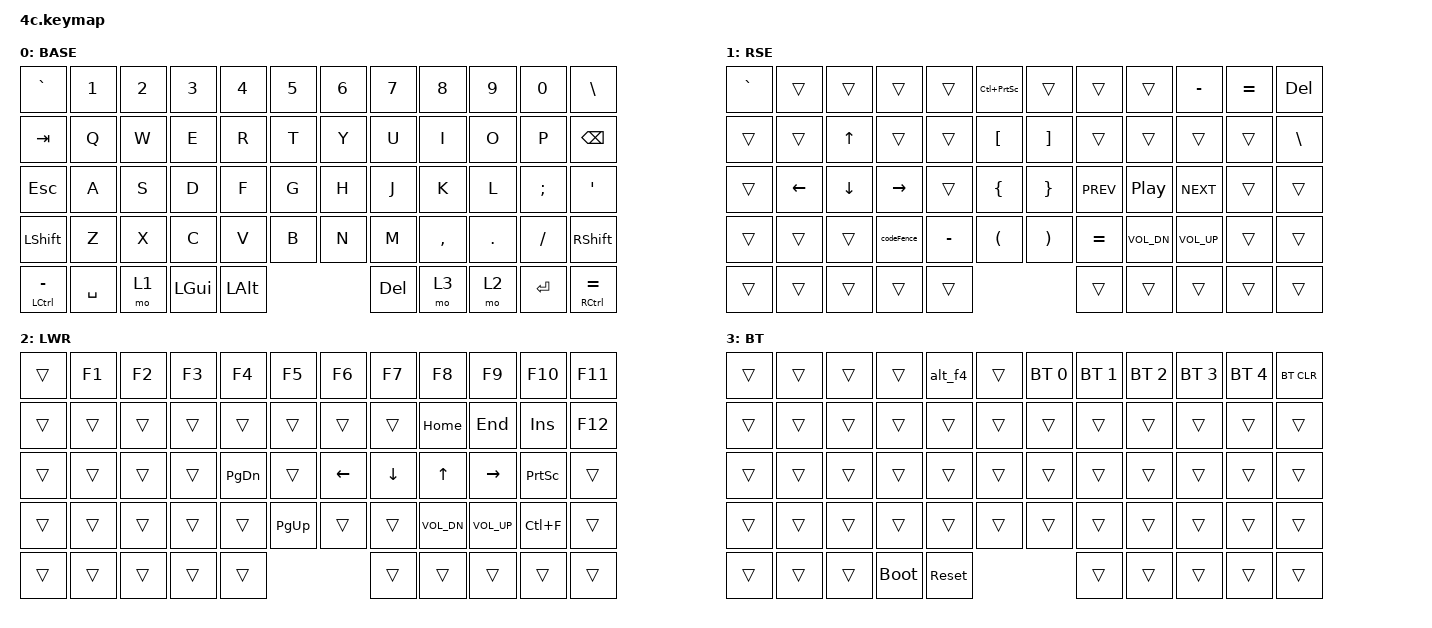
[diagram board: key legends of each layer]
/*
 * Copyright (c) 2020 The ZMK Contributors
 *
 * SPDX-License-Identifier: MIT
 */
/* THIS FILE WAS GENERATED!
 *
 * This file was generated automatically. You may or may not want to
 * edit it directly.
 */

#include <behaviors.dtsi>
#include <dt-bindings/zmk/bt.h>
#include <dt-bindings/zmk/keys.h>

/ {
    combos {
        compatible = "zmk,combos";

        btMo {
            bindings = <&mo 3>;
            key-positions = <56 57>;
        };
    };

    macros {
        codeFence: codeFence {
            compatible = "zmk,behavior-macro";
            label = "new_macro";
            #binding-cells = <0>;
            bindings =
                <&kp GRAVE &kp GRAVE &kp GRAVE &kp RET &kp RET &kp GRAVE &kp GRAVE &kp GRAVE &kp UP>,
                <&macro_press>;
        };
        alt_f4: alt_f4 {
            compatible = "zmk,behavior-macro";
            label = "ALT_F4";
            #binding-cells = <0>;
            bindings = <&kp LALT &kp F4>;
        };
    };

    keymap {
        compatible = "zmk,keymap";

        BASE {
            bindings = <
      &kp GRAVE  &kp NUMBER_1  &kp NUMBER_2  &kp NUMBER_3  &kp NUMBER_4  &kp NUMBER_5    &kp NUMBER_6  &kp NUMBER_7  &kp NUMBER_8  &kp NUMBER_9  &kp NUMBER_0    &kp BACKSLASH
        &kp TAB         &kp Q         &kp W         &kp E         &kp R         &kp T           &kp Y         &kp U         &kp I         &kp O         &kp P    &kp BACKSPACE
        &kp ESC         &kp A         &kp S         &kp D         &kp F         &kp G           &kp H         &kp J         &kp K         &kp L      &kp SEMI         &kp APOS
 &kp LEFT_SHIFT         &kp Z         &kp X         &kp C         &kp V         &kp B           &kp N         &kp M     &kp COMMA    &kp PERIOD     &kp SLASH  &kp RIGHT_SHIFT
&mt LCTRL MINUS     &kp SPACE         &mo 1  &kp LEFT_GUI  &kp LEFT_ALT                                     &kp DEL         &mo 3         &mo 2     &kp ENTER  &mt RCTRL EQUAL
            >;
        };

        RSE {
            bindings = <
&kp GRAVE    &trans    &trans      &trans     &trans   &kp LC(PRINTSCREEN)                   &trans      &trans        &trans     &kp MINUS  &kp EQUAL     &kp DELETE
   &trans    &trans    &kp UP      &trans     &trans      &kp LEFT_BRACKET        &kp RIGHT_BRACKET      &trans        &trans        &trans     &trans  &kp BACKSLASH
   &trans  &kp LEFT  &kp DOWN   &kp RIGHT     &trans        &kp LEFT_BRACE          &kp RIGHT_BRACE  &kp C_PREV      &kp C_PP    &kp C_NEXT     &trans         &trans
   &trans    &trans    &trans  &codeFence  &kp MINUS  &kp LEFT_PARENTHESIS    &kp RIGHT_PARENTHESIS   &kp EQUAL  &kp C_VOL_DN  &kp C_VOL_UP     &trans         &trans
   &trans    &trans    &trans      &trans     &trans                                                     &trans        &trans        &trans     &trans         &trans
            >;
        };

        LWR {
            bindings = <
&trans  &kp F1  &kp F2  &kp F3     &kp F4     &kp F5      &kp F6    &kp F7        &kp F8        &kp F9          &kp F10  &kp F11
&trans  &trans  &trans  &trans     &trans     &trans      &trans    &trans      &kp HOME       &kp END       &kp INSERT  &kp F12
&trans  &trans  &trans  &trans  &kp PG_DN     &trans    &kp LEFT  &kp DOWN        &kp UP     &kp RIGHT  &kp PRINTSCREEN   &trans
&trans  &trans  &trans  &trans     &trans  &kp PG_UP      &trans    &trans  &kp C_VOL_DN  &kp C_VOL_UP        &kp LC(F)   &trans
&trans  &trans  &trans  &trans     &trans                           &trans        &trans        &trans           &trans   &trans
            >;
        };

        BT {
            bindings = <
&trans  &trans  &trans       &trans     &alt_f4  &trans    &bt BT_SEL 0  &bt BT_SEL 1  &bt BT_SEL 2  &bt BT_SEL 3  &bt BT_SEL 4  &bt BT_CLR
&trans  &trans  &trans       &trans      &trans  &trans          &trans        &trans        &trans        &trans        &trans      &trans
&trans  &trans  &trans       &trans      &trans  &trans          &trans        &trans        &trans        &trans        &trans      &trans
&trans  &trans  &trans       &trans      &trans  &trans          &trans        &trans        &trans        &trans        &trans      &trans
&trans  &trans  &trans  &bootloader  &sys_reset                                &trans        &trans        &trans        &trans      &trans
            >;
        };
    };
};
